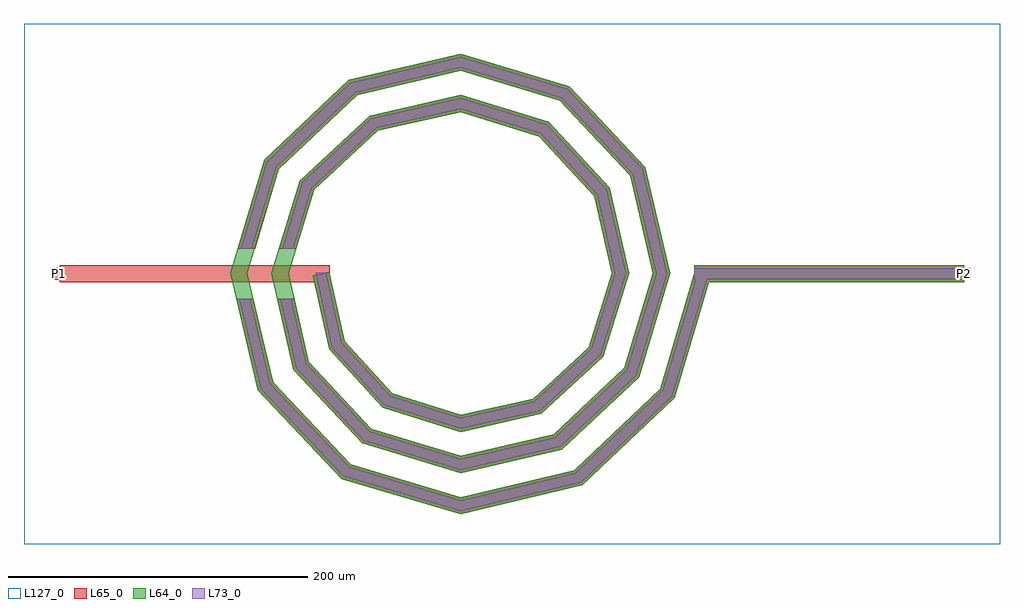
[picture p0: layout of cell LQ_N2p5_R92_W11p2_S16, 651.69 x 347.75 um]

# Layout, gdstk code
import gdstk
lib = gdstk.Library(unit=1e-6, precision=1e-09)
def R(c, l, rs):  # rectangles x0, y0, x1, y1
    for r in rs: c.add(gdstk.rectangle(r[:2], r[2:], *l))
def P(c, l, *ps):  # polygons
    for p in ps: c.add(gdstk.Polygon(p, *l))
L64_0 = (64, 0)
L65_0 = (65, 0)
L73_0 = (73, 0)
L127_0 = (127, 0)

lq_n2p5_r92_w11p2_s16 = lib.new_cell('LQ_N2p5_R92_W11p2_S16')
R(lq_n2p5_r92_w11p2_s16, L64_0, [(156.236,-5.6,336.236,5.6)])
P(lq_n2p5_r92_w11p2_s16, L64_0, [(-77.428,-45.003),(-45.704,-79.67),(0.248,-94.141),(48.427,-83.393),(85.618,-49.158),(101.018,0.232),(89.356,51.852),(52.609,91.567),(0.218,107.896),(-55.279,95.319),(-97.516,56.059),(-114.774,0.206),(-101.281,-58.708),(-59.508,-103.467),(0.195,-121.651),(62.137,-107.243),(109.418,-62.956),(128.529,0.185),(113.204,65.568),(66.403,115.37),(0.176,135.407),(-68.999,119.165),(-121.322,69.849),(-142.285,0.167),(-125.125,-72.432),(-73.294,-127.274),(0.16,-149.163),(75.864,-131.085),(133.227,-76.739),(156.468,1.593),(167.205,-1.593),(143.11,-82.804),(81.387,-141.281),(0.16,-160.754),(-79.371,-137.15),(-135.328,-77.941),(-153.876,0.167),(-131.19,75.939),(-74.496,129.376),(0.176,146.998),(72.507,125.229),(123.423,71.049),(140.119,0.185),(119.267,-69.076),(67.601,-117.471),(0.195,-133.241),(-65.646,-113.305),(-111.52,-64.153),(-126.363,0.206),(-107.343,62.216),(-60.703,105.569),(0.218,119.484),(58.788,101.379),(99.619,57.252),(112.606,0.232),(95.415,-55.362),(53.8,-93.669),(0.248,-105.727),(-51.937,-89.45),(-87.721,-50.345),(-98.525,-1.202),(-87.587,1.202)])
R(lq_n2p5_r92_w11p2_s16, L65_0, [(-267.456,-5.6,-87.456,5.6), (156.236,-5.6,336.236,5.6), (-271.456,-4,-263.456,4), (332.236,-4,340.236,4)])
P(lq_n2p5_r92_w11p2_s16, L65_0, [(-125.125,-72.432),(-73.294,-127.274),(0.16,-149.163),(75.864,-131.085),(133.227,-76.739),(156.468,1.593),(167.205,-1.593),(143.111,-82.804),(81.387,-141.282),(0.16,-160.754),(-79.371,-137.15),(-135.328,-77.942),(-149.847,-16.8),(-138.335,-16.8)],
  [(-101.282,-58.708),(-59.508,-103.467),(0.195,-121.651),(62.138,-107.243),(109.418,-62.956),(128.529,0.185),(113.204,65.568),(66.403,115.37),(0.176,135.407),(-68.999,119.165),(-121.322,69.849),(-137.205,16.8),(-148.896,16.8),(-131.19,75.939),(-74.496,129.376),(0.176,146.998),(72.507,125.229),(123.423,71.049),(140.119,0.185),(119.267,-69.076),(67.601,-117.471),(0.195,-133.241),(-65.646,-113.305),(-111.52,-64.153),(-122.441,-16.8),(-110.947,-16.8)],
  [(-45.704,-79.67),(0.248,-94.141),(48.427,-83.393),(85.618,-49.158),(101.019,0.232),(89.356,51.852),(52.609,91.567),(0.218,107.896),(-55.279,95.319),(-97.516,56.059),(-109.558,16.8),(-121.273,16.8),(-107.343,62.216),(-60.703,105.569),(0.218,119.484),(58.788,101.379),(99.619,57.252),(112.606,0.232),(95.415,-55.362),(53.8,-93.669),(0.248,-105.727),(-51.937,-89.45),(-87.721,-50.346),(-98.525,-1.203),(-87.587,1.203),(-77.428,-45.003)])
R(lq_n2p5_r92_w11p2_s16, L73_0, [(156.236,-3.6,336.236,3.6)])
P(lq_n2p5_r92_w11p2_s16, L73_0, [(-126.947,-73.415),(-74.38,-129.038),(0.103,-151.233),(76.85,-132.906),(134.992,-77.822),(158.385,1.024),(165.288,-1.024),(141.346,-81.721),(80.401,-139.461),(0.103,-158.684),(-78.286,-135.387),(-133.506,-76.958),(-147.791,-16.8),(-140.391,-16.8)],
  [(-103.11,-59.68),(-60.604,-105.224),(0.125,-123.721),(63.113,-109.07),(111.177,-64.049),(130.599,0.119),(115.029,66.547),(67.493,117.13),(0.113,137.477),(-69.981,120.988),(-123.084,70.936),(-139.293,16.8),(-146.808,16.8),(-129.428,74.851),(-73.514,127.552),(0.113,144.928),(71.417,123.468),(121.598,70.07),(138.05,0.119),(117.509,-67.983),(66.626,-115.645),(0.125,-131.171),(-64.55,-111.549),(-109.691,-63.181),(-120.388,-16.8),(-112.999,-16.8)],
  [(-46.817,-81.416),(0.159,-96.21),(49.386,-85.228),(87.367,-50.266),(103.088,0.149),(91.189,52.817),(53.713,93.319),(0.14,109.965),(-56.248,97.15),(-99.271,57.159),(-111.65,16.8),(-119.181,16.8),(-105.588,61.117),(-59.735,103.739),(0.14,117.415),(57.685,99.627),(97.786,56.288),(110.537,0.149),(93.666,-54.254),(52.84,-91.834),(0.159,-103.658),(-50.824,-87.703),(-85.883,-49.392),(-96.572,0.773),(-89.54,0.773),(-79.266,-45.957)])
R(lq_n2p5_r92_w11p2_s16, L127_0, [(-291.456,-180.754,360.236,166.998)])
lq_n2p5_r92_w11p2_s16.add(gdstk.Label('P2', (336.236,0), layer=65, texttype=0))
lq_n2p5_r92_w11p2_s16.add(gdstk.Label('P1', (-267.456,0), layer=65, texttype=0))
lq_n2p5_r92_w11p2_s16.add(gdstk.Label('P2', (340.236,0), layer=145, texttype=0))
lq_n2p5_r92_w11p2_s16.add(gdstk.Label('P1', (-271.456,0), layer=145, texttype=0))

lib.write_gds('LQ_N2p5_R92_W11p2_S16.gds')
